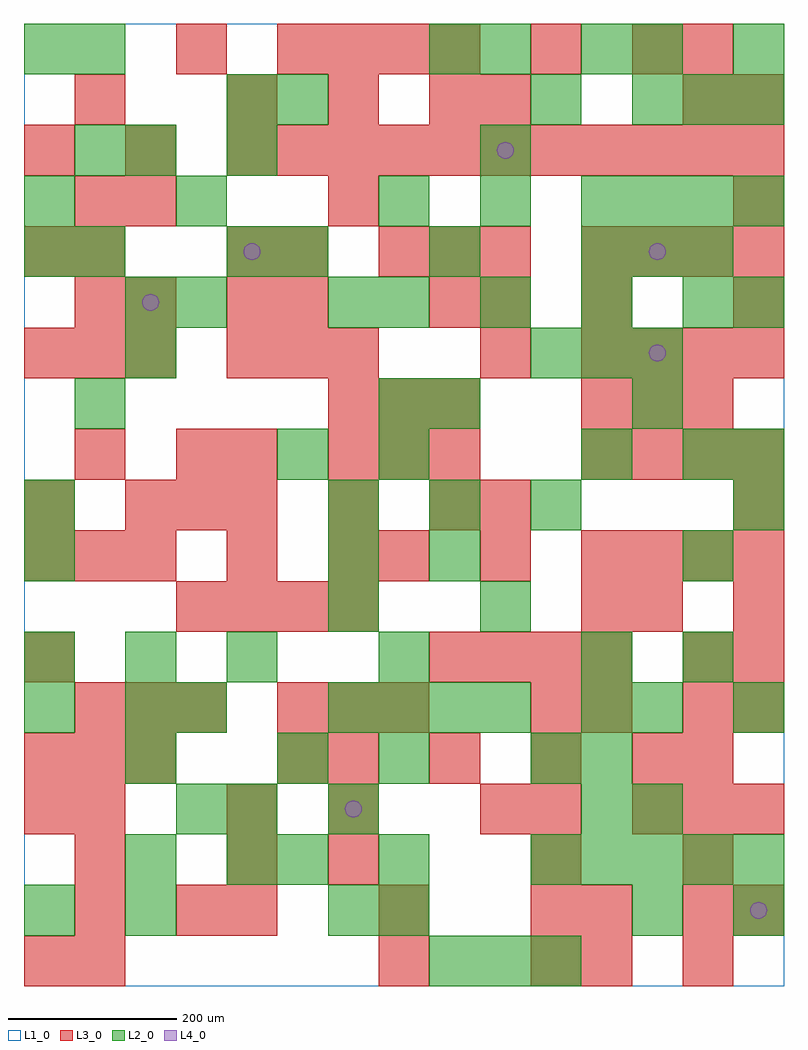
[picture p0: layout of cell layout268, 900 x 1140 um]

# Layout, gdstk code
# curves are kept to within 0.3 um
import gdstk
lib = gdstk.Library(unit=1e-6, precision=1e-09)
def R(c, l, rs):  # rectangles x0, y0, x1, y1
    for r in rs: c.add(gdstk.rectangle(r[:2], r[2:], *l))
def A(c, l, x, y, w, h, nx, ny, dx, dy):  # array of equal rectangles
    R(c, l, [(x+i*dx, y+j*dy, x+i*dx+w, y+j*dy+h) for i in range(nx) for j in range(ny)])
def P(c, l, *ps):  # polygons
    for p in ps: c.add(gdstk.Polygon(p, *l))
L1_0 = (1, 0)
L2_0 = (2, 0)
L3_0 = (3, 0)
L4_0 = (4, 0)

layout268 = lib.new_cell('layout268')
R(layout268, L1_0, [(0,0,900,1140)])
A(layout268, L2_0, 480, 0, 60, 60, 3, 1, 60, 0)
A(layout268, L2_0, 720, 60, 60, 60, 1, 3, 0, 120)
A(layout268, L2_0, 840, 60, 60, 60, 1, 3, 0, 240)
A(layout268, L2_0, 420, 120, 60, 60, 1, 3, 0, 120)
A(layout268, L2_0, 600, 120, 60, 60, 5, 1, 60, 0)
A(layout268, L2_0, 660, 180, 60, 60, 1, 4, 0, 60)
A(layout268, L2_0, 360, 300, 60, 60, 4, 1, 60, 0)
A(layout268, L2_0, 0, 360, 60, 60, 3, 1, 120, 0)
A(layout268, L2_0, 780, 360, 60, 60, 1, 3, 0, 120)
A(layout268, L2_0, 360, 540, 60, 60, 3, 1, 120, 0)
A(layout268, L2_0, 600, 720, 60, 60, 3, 1, 60, 0)
A(layout268, L2_0, 420, 780, 60, 60, 4, 1, 120, 0)
A(layout268, L2_0, 60, 840, 60, 60, 1, 3, 0, 120)
A(layout268, L2_0, 300, 840, 60, 60, 3, 1, 180, 0)
A(layout268, L2_0, 420, 900, 60, 60, 3, 1, 120, 0)
A(layout268, L2_0, 720, 900, 60, 60, 3, 2, 60, 120)
R(layout268, L2_0, [(0,60,60,120), (120,60,180,120), (360,60,420,120), (420,60,480,120), (120,120,180,180), (240,120,300,180), (300,120,360,180), (180,180,240,240), (240,180,300,240), (360,180,420,240), (120,240,180,300), (300,240,360,300), (600,240,660,300), (0,300,60,360), (120,300,180,360), (180,300,240,360), (360,420,420,480), (540,420,600,480), (0,480,60,540), (360,480,420,540), (480,480,540,540), (0,540,60,600), (300,600,360,660), (420,600,480,660), (660,600,720,660), (840,600,900,660), (60,660,120,720), (420,660,480,720), (480,660,540,720), (720,660,780,720), (120,720,180,780), (120,780,180,840), (180,780,240,840), (360,780,420,840), (840,780,900,840), (0,840,60,900), (240,840,300,900), (720,840,780,900), (780,840,840,900), (0,900,60,960), (180,900,240,960), (120,960,180,1020), (240,960,300,1020), (540,960,600,1020), (240,1020,300,1080), (300,1020,360,1080), (600,1020,660,1080), (0,1080,60,1140), (480,1080,540,1140), (540,1080,600,1140), (660,1080,720,1140), (720,1080,780,1140), (840,1080,900,1140)])
A(layout268, L3_0, 0, 0, 60, 60, 1, 4, 0, 180)
A(layout268, L3_0, 60, 0, 60, 60, 1, 4, 0, 60)
A(layout268, L3_0, 780, 0, 60, 60, 1, 3, 0, 60)
A(layout268, L3_0, 240, 60, 60, 60, 3, 1, 180, 0)
A(layout268, L3_0, 720, 180, 60, 60, 3, 2, 60, 300)
A(layout268, L3_0, 0, 240, 60, 60, 3, 3, 60, 240)
A(layout268, L3_0, 360, 240, 60, 60, 4, 1, 120, 0)
A(layout268, L3_0, 780, 240, 60, 60, 1, 3, 0, 60)
A(layout268, L3_0, 60, 300, 60, 60, 3, 1, 60, 0)
A(layout268, L3_0, 300, 300, 60, 60, 3, 1, 60, 0)
A(layout268, L3_0, 840, 300, 60, 60, 1, 3, 0, 60)
A(layout268, L3_0, 480, 360, 60, 60, 4, 1, 60, 0)
A(layout268, L3_0, 180, 420, 60, 60, 4, 1, 60, 0)
A(layout268, L3_0, 420, 480, 60, 60, 3, 1, 120, 0)
A(layout268, L3_0, 120, 540, 60, 60, 3, 1, 60, 0)
A(layout268, L3_0, 360, 600, 60, 60, 3, 2, 60, 60)
A(layout268, L3_0, 660, 600, 60, 60, 4, 3, 60, 120)
A(layout268, L3_0, 660, 660, 60, 60, 3, 1, 60, 0)
A(layout268, L3_0, 240, 720, 60, 60, 3, 1, 60, 0)
A(layout268, L3_0, 60, 780, 60, 60, 1, 3, 0, 60)
A(layout268, L3_0, 840, 780, 60, 60, 1, 3, 0, 120)
A(layout268, L3_0, 420, 840, 60, 60, 3, 1, 60, 0)
A(layout268, L3_0, 0, 960, 60, 60, 3, 1, 120, 0)
A(layout268, L3_0, 300, 960, 60, 60, 10, 1, 60, 0)
A(layout268, L3_0, 240, 1020, 60, 60, 3, 1, 120, 0)
A(layout268, L3_0, 300, 1080, 60, 60, 4, 1, 60, 0)
R(layout268, L3_0, [(420,0,480,60), (600,0,660,60), (660,0,720,60), (180,60,240,120), (660,60,720,120), (840,60,900,120), (240,120,300,180), (360,120,420,180), (600,120,660,180), (240,180,300,240), (360,180,420,240), (540,180,600,240), (600,180,660,240), (300,240,360,300), (600,300,660,360), (660,300,720,360), (660,420,720,480), (720,420,780,480), (240,480,300,540), (360,480,420,540), (360,540,420,600), (480,540,540,600), (540,540,600,600), (840,540,900,600), (60,600,120,660), (180,600,240,660), (240,600,300,660), (540,720,600,780), (120,780,180,840), (240,780,300,840), (300,780,360,840), (480,780,540,840), (540,780,600,840), (660,780,720,840), (0,840,60,900), (240,840,300,900), (300,840,360,900), (120,900,180,960), (360,900,420,960), (60,1020,120,1080), (540,1020,600,1080), (780,1020,840,1080), (180,1080,240,1140), (600,1080,660,1140), (720,1080,780,1140), (780,1080,840,1140)])
P(layout268, L4_0, [(160,810),(159.239,813.827),(157.071,817.071),(153.827,819.239),(150,820),(146.173,819.239),(142.929,817.071),(140.761,813.827),(140,810),(140.761,806.173),(142.929,802.929),(146.173,800.761),(150,800),(153.827,800.761),(157.071,802.929),(159.239,806.173)],
  [(280,870),(279.239,873.827),(277.071,877.071),(273.827,879.239),(270,880),(266.173,879.239),(262.929,877.071),(260.761,873.827),(260,870),(260.761,866.173),(262.929,862.929),(266.173,860.761),(270,860),(273.827,860.761),(277.071,862.929),(279.239,866.173)],
  [(400,210),(399.239,213.827),(397.071,217.071),(393.827,219.239),(390,220),(386.173,219.239),(382.929,217.071),(380.761,213.827),(380,210),(380.761,206.173),(382.929,202.929),(386.173,200.761),(390,200),(393.827,200.761),(397.071,202.929),(399.239,206.173)],
  [(580,990),(579.239,993.827),(577.071,997.071),(573.827,999.239),(570,1000),(566.173,999.239),(562.929,997.071),(560.761,993.827),(560,990),(560.761,986.173),(562.929,982.929),(566.173,980.761),(570,980),(573.827,980.761),(577.071,982.929),(579.239,986.173)],
  [(760,750),(759.239,753.827),(757.071,757.071),(753.827,759.239),(750,760),(746.173,759.239),(742.929,757.071),(740.761,753.827),(740,750),(740.761,746.173),(742.929,742.929),(746.173,740.761),(750,740),(753.827,740.761),(757.071,742.929),(759.239,746.173)],
  [(760,870),(759.239,873.827),(757.071,877.071),(753.827,879.239),(750,880),(746.173,879.239),(742.929,877.071),(740.761,873.827),(740,870),(740.761,866.173),(742.929,862.929),(746.173,860.761),(750,860),(753.827,860.761),(757.071,862.929),(759.239,866.173)],
  [(880,90),(879.239,93.827),(877.071,97.071),(873.827,99.239),(870,100),(866.173,99.239),(862.929,97.071),(860.761,93.827),(860,90),(860.761,86.173),(862.929,82.929),(866.173,80.761),(870,80),(873.827,80.761),(877.071,82.929),(879.239,86.173)])

lib.write_gds('layout268.gds')
